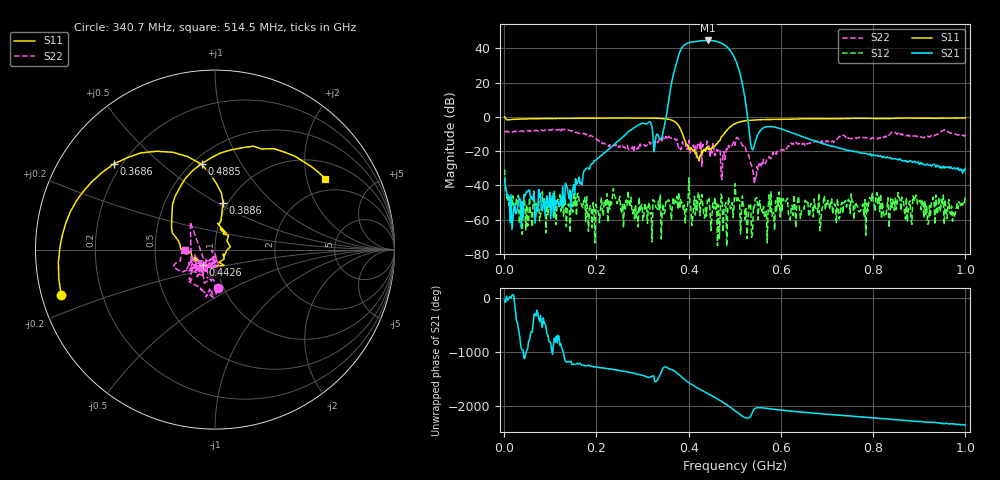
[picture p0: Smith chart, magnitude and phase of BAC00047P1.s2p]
!measured: 2026-10-27T15:13:35
!cal_instance: BBtestOct27
!cal_created: 2026-10-27T14:45
!cal_file: BBtesting.cal
!port1_delay_ps: -58.63
!port2_delay_ps: -59.31
!host: dhcp-10-250-247-203.harvard.edu
! Created with skrf 2.1.0 (http://scikit-rf.org).
# Hz S RI R 50.0
!freq ReS11 ImS11 ReS21 ImS21 ReS12 ImS12 ReS22 ImS22
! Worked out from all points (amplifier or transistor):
!   501 points, 1 MHz to 1 GHz, reference 50 ohm
!   highest |S21| = 44.6 dB at 442.6 MHz (marker M1)
!   |S21| within 3 dB of that: 389.8 MHz to 479.5 MHz (89.68 MHz wide, 20.6 % of centre)
!   unconditionally stable (mu >= 1): start of sweep to 399.4 MHz; 428.6 MHz to 470.4 MHz; 501.5 MHz to end of sweep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
!   at 166.8 MHz: K = 2336.10, MAG = -30.6 dB, |S12| = -50.6 dB
!   at 500.5 MHz: K = 0.76, MSG = 36.4 dB, |S12| = -39.1 dB
!   at 1 GHz: K = 458.32, MAG = -21.4 dB, |S12| = -46.5 dB
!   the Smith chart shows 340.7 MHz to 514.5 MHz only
!   S11 on the Smith chart (normalised r, x): 340.7 MHz: 0.06, -0.15; 368.6 MHz: 0.17, +0.36; 388.6 MHz: 0.95, +0.53; 442.6 MHz: 0.86, -0.15; 488.5 MHz: 0.55, +0.69; 514.5 MHz: 1.53, +2.59
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1000000  -0.4426 0.8922  0.00836 -0.0115  -0.0274 -0.00948  0.3754 -0.0347
1.68832e8  0.4955 -0.7571  -0.01 -0.00208  -0.000461 0.00243  -0.0279 -0.3172
3.34666e8  -0.8234 -0.3713  0.1767 -0.2131  0.00312 -0.00151  0.0178 -0.186
3.4066e8  -0.8563 -0.2547  0.0934 0.1967  -0.000264 -6.46e-05  0.0143 -0.2136
3.68632e8  -0.5655 0.4764  2.053 21.1  -0.00019 0.00284  -0.0918 -0.207
3.78622e8  -0.156 0.5195  61.15 16.33  0.00367 -0.00482  -0.0963 -0.0755
3.88612e8  0.0443 0.262  64.21 -97.34  -0.000708 -0.00166  -0.1108 -0.1036
3.98602e8  0.0137 0.1465  -80.42 -118.6  0.00341 -0.001  -0.1305 -0.1129
4.1059e8  0.0471 0.0859  -153.3 25.35  0.000421 0.00238  -0.0657 -0.1334
4.18582e8  0.0673 -0.00164  -105.3 121  -0.00183 -0.000362  -0.0321 -0.1403
4.26574e8  0.0229 -0.0709  -12.16 165.2  -0.00338 -0.000907  -0.1008 -0.1513
4.34566e8  -0.0262 -0.1064  91.82 141  0.000965 0.000518  -0.0192 -0.1051
4.42558e8  -0.0688 -0.0878  159.2 59.07  -3.08e-05 0.00322  0.0345 -0.1207
4.52548e8  -0.1151 -0.0592  149.1 -73.48  0.000286 0.00304  -0.019 -0.1751
4.64536e8  -0.1903 0.00311  12.97 -152.8  -0.000259 0.00271  -0.0678 -0.0912
4.76524e8  -0.2398 0.198  -108.9 -67.84  -0.00104 -0.00168  -0.02 -0.0953
4.88512e8  -0.0749 0.478  -72.75 56.21  0.0029 0.000358  -0.0275 -0.1314
5.005e8  0.2589 0.5609  19.36 45.06  -0.00103 -0.0111  -0.1109 -0.0965
5.14486e8  0.6146 0.3947  11.32 -4.633  -0.000334 -0.00168  -0.1672 -0.00369
6.68332e8  0.0612 -0.8762  0.1875 0.0825  0.00261 0.000262  0.0278 -0.1775
8.34166e8  -0.5943 -0.6673  0.00264 -0.0636  -0.000269 -0.00051  -0.1656 -0.2324
1e9  -0.8877 -0.2498  -0.0282 0.0137  -0.00387 -0.00276  -0.2412 -0.1729
